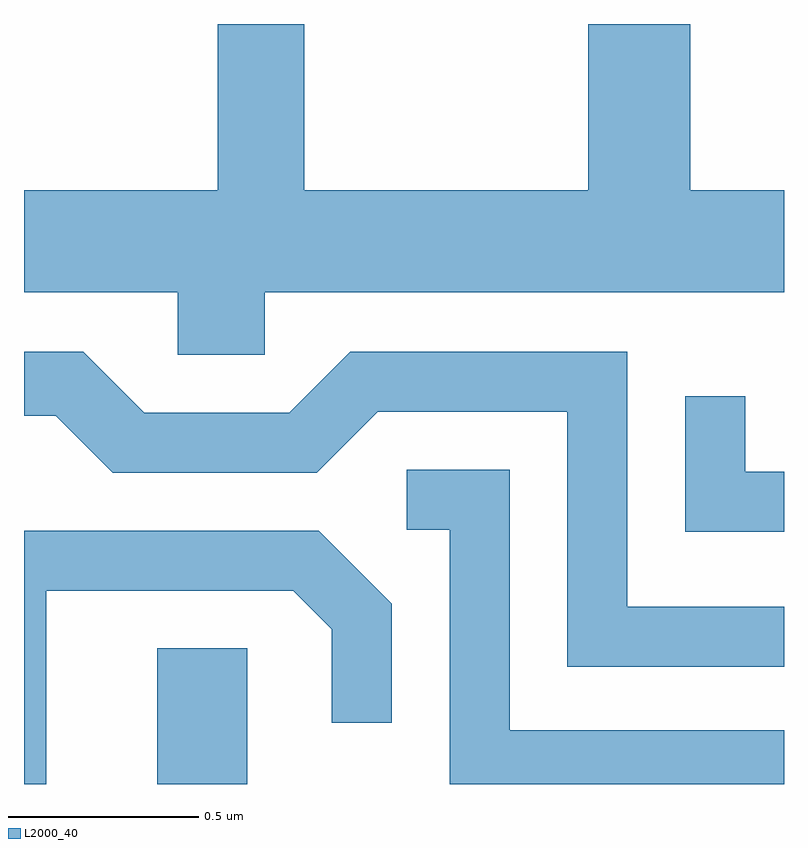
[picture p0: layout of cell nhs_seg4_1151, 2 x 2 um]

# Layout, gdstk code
import gdstk
lib = gdstk.Library(unit=1e-6, precision=1e-09)
def R(c, l, rs):  # rectangles x0, y0, x1, y1
    for r in rs: c.add(gdstk.rectangle(r[:2], r[2:], *l))
def P(c, l, *ps):  # polygons
    for p in ps: c.add(gdstk.Polygon(p, *l))
L2000_40 = (2000, 40)

nhs_seg4_1151 = lib.new_cell('nhs_seg4_1151')
R(nhs_seg4_1151, L2000_40, [(193.961,1308.982,194.199,1309.339)])
P(nhs_seg4_1151, L2000_40, [(194.244,1310.276),(195.611,1310.276),(195.611,1310.544),(195.364,1310.544),(195.364,1310.982),(195.096,1310.982),(195.096,1310.544),(194.349,1310.544),(194.349,1310.982),(194.121,1310.982),(194.121,1310.544),(193.611,1310.544),(193.611,1310.276),(194.016,1310.276),(194.016,1310.111),(194.244,1310.111)],
  [(195.611,1309.449),(195.199,1309.449),(195.199,1310.119),(194.469,1310.119),(194.309,1309.959),(193.927,1309.959),(193.767,1310.119),(193.611,1310.119),(193.611,1309.951),(193.694,1309.951),(193.844,1309.801),(194.382,1309.801),(194.542,1309.961),(195.041,1309.961),(195.041,1309.291),(195.611,1309.291)],
  [(195.611,1309.804),(195.509,1309.804),(195.509,1310.003),(195.351,1310.003),(195.351,1309.646),(195.611,1309.646)],
  [(195.611,1309.124),(194.889,1309.124),(194.889,1309.809),(194.618,1309.809),(194.618,1309.651),(194.731,1309.651),(194.731,1308.982),(195.611,1308.982)],
  [(193.669,1309.491),(194.319,1309.491),(194.421,1309.389),(194.421,1309.143),(194.579,1309.143),(194.579,1309.457),(194.387,1309.649),(193.611,1309.649),(193.611,1308.982),(193.669,1308.982)])

lib.write_gds('nhs_seg4_1151.gds')
